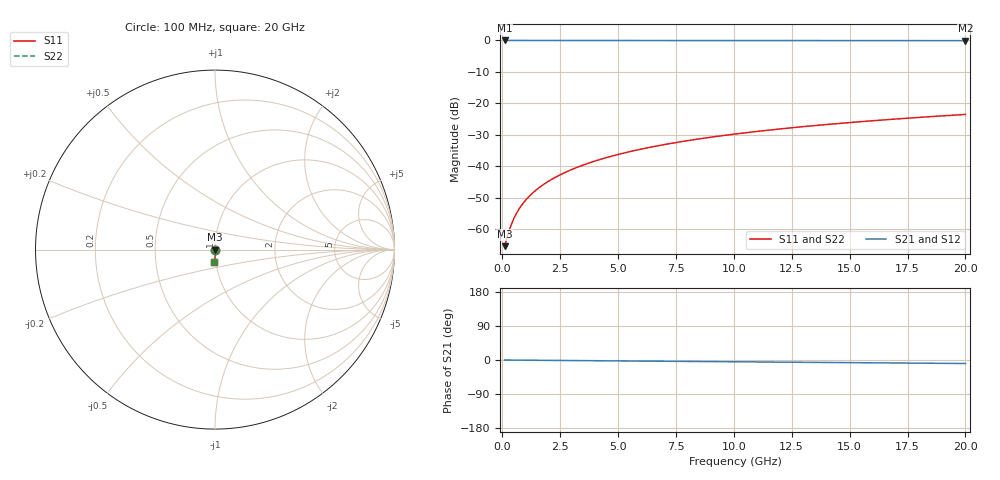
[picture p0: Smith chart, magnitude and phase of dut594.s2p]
! Touchstone file exported from HFSS 2026.1.0
!  File:  C:/ffzhzh/LocalFiles/Ansys_Project_Files/temp_train_TMRDL_594_1783008483_51716.aedt
!  Generated:  12:09:17 AM Jul  3, 2026
!  Design:  TMRDL
!  Project:  temp_train_TMRDL_594_1783008483_51716
! Variables:
!  h_bsmrdl = 2um
!  h_ox = 20um
!  h_rdl = 5um
!  h_sub = 80um
!  h_tmrdl = 5.48um
!  h_tsv = 80um
!  h_via = 3um
!  l_bsmrdl = 300um
!  l_sub = 541.55um
!  l_tmrdl = 141.55um
!  m_sub = 200um
!  pitch = 31.37um
!  r_tsv = 6um
!  s_tmrdl = 10um
!  w_bsmrdl = 18um
!  w_sub = 500um
!  w_tmrdl = 29.33um
!  x_tsv_center1 = 156.215um
!  x_tsv_center2 = 474.215um
!  x_tsv_center3 = 645.095um
!  x_tsv_center4 = 963.095um
!  x_tsv_center5 = 1133.975um
!  x_tsv_center6 = 1451.975um
# GHz S MA R 50.000000
! Terminal data exported
! Port[1] = TM_RDL1_1_T1
! Port[2] = TM_RDL1_1_T2
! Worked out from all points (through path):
!   200 points, 100 MHz to 20 GHz, reference 50 ohm
!   highest |S21| = 0.00 dB at 100 MHz (marker M1); lowest = -0.1 dB at 20 GHz (marker M2)
!   group delay of S21, straight-line fit = 1.28 ps
!   lowest |S11| = -65.5 dB at 100 MHz (marker M3), VSWR 1.00, Z = 50.1 - j0.011 ohm
!   |S11| at or under -10 dB: start of sweep to end of sweep
!   |S22| runs from -65.5 to -23.5 dB; largest |S21 - S12| = 5e-15
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0.1  0.0005333 -11.9  0.9995 -0.1  0.9995 -0.1  0.0005333 -11.9
! Gamma 0 0 0 0
! Port Impedance 50 0 50 0
0.3  0.0009498 -37.8  0.9992 -0.2  0.9992 -0.2  0.0009498 -37.8
0.4  0.001204 -46.9  0.9992 -0.2  0.9992 -0.2  0.001204 -46.9
0.5  0.001469 -53.5  0.9991 -0.3  0.9991 -0.3  0.001469 -53.5
0.6  0.001739 -58.4  0.9991 -0.3  0.9991 -0.3  0.001739 -58.4
0.8  0.002292 -65.0  0.999 -0.4  0.999 -0.4  0.002292 -65.0
1.1  0.003137 -70.7  0.9989 -0.6  0.9989 -0.6  0.003137 -70.7
1.3  0.00371 -73.0  0.9989 -0.6  0.9989 -0.6  0.00371 -73.0
1.5  0.00429 -74.7  0.9988 -0.7  0.9988 -0.7  0.00429 -74.7
1.8  0.005172 -76.5  0.9987 -0.9  0.9987 -0.9  0.005172 -76.5
2.1  0.006069 -77.7  0.9986 -1.0  0.9986 -1.0  0.006069 -77.7
2.7  0.007907 -79.4  0.9983 -1.3  0.9983 -1.3  0.007907 -79.4
3.5  0.01044 -81.0  0.998 -1.7  0.998 -1.7  0.01044 -81.0
4.2  0.01271 -82.0  0.9977 -2.0  0.9977 -2.0  0.01271 -82.0
5  0.01534 -83.0  0.9974 -2.4  0.9974 -2.4  0.01534 -83.0
5.9  0.01835 -84.0  0.997 -2.8  0.997 -2.8  0.01835 -84.0
6.8  0.02139 -85.0  0.9967 -3.2  0.9967 -3.2  0.02139 -85.0
8.3  0.02647 -86.4  0.9962 -3.9  0.9962 -3.9  0.02647 -86.4
10.1  0.03261 -87.9  0.9956 -4.7  0.9956 -4.7  0.03261 -87.9
13.4  0.0439 -90.2  0.9944 -6.3  0.9944 -6.3  0.0439 -90.2
16.7  0.05522 -92.3  0.9932 -7.8  0.9932 -7.8  0.05522 -92.3
20  0.06654 -94.3  0.992 -9.2  0.992 -9.2  0.06653 -94.3
